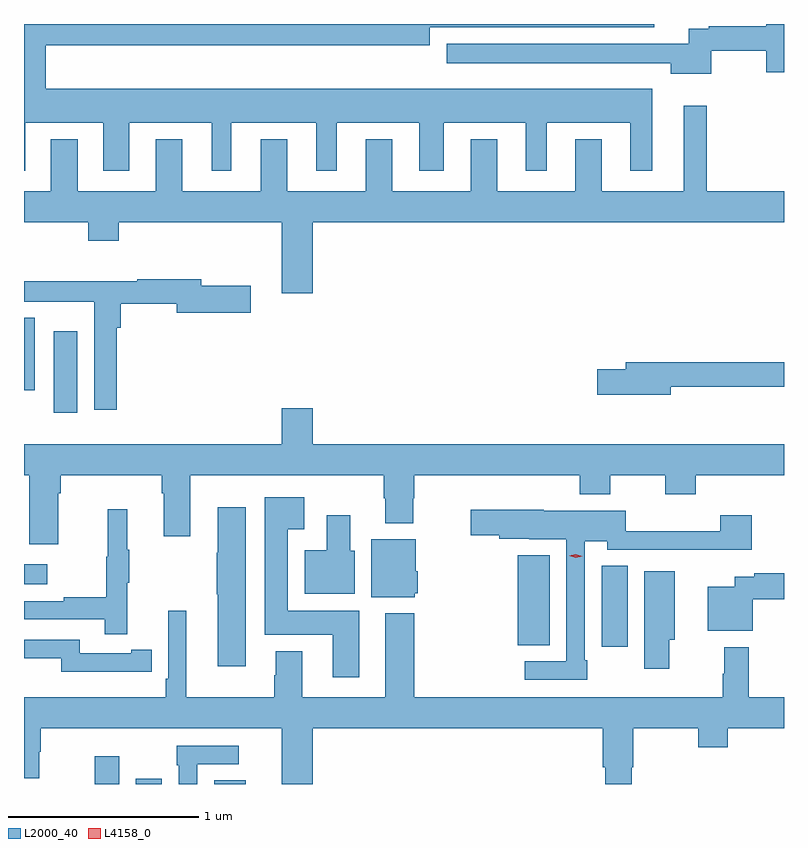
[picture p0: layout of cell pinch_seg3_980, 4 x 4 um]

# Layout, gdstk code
import gdstk
lib = gdstk.Library(unit=1e-6, precision=1e-09)
def R(c, l, rs):  # rectangles x0, y0, x1, y1
    for r in rs: c.add(gdstk.rectangle(r[:2], r[2:], *l))
def P(c, l, *ps):  # polygons
    for p in ps: c.add(gdstk.Polygon(p, *l))
L2000_40 = (2000, 40)
L4158_0 = (4158, 0)

pinch_seg3_980 = lib.new_cell('pinch_seg3_980')
R(pinch_seg3_980, L2000_40, [(415.771,713.943,415.9,714.088), (415.988,713.943,416.125,713.971), (416.399,713.943,416.566,713.963), (418.439,714.666,418.576,715.091), (417.998,714.673,418.165,715.147), (415.399,714.995,415.522,715.099), (415.556,715.896,415.678,716.326), (415.399,716.016,415.456,716.396)])
P(pinch_seg3_980, L2000_40, [(419.016,717.802),(419.305,717.802),(419.305,717.69),(419.399,717.69),(419.399,717.943),(419.305,717.943),(419.305,717.931),(419.002,717.931),(419.002,717.918),(418.898,717.918),(418.898,717.838),(417.624,717.838),(417.624,717.737),(418.802,717.737),(418.802,717.68),(419.016,717.68)],
  [(415.405,717.422),(415.817,717.422),(415.817,717.171),(415.954,717.171),(415.954,717.422),(416.387,717.422),(416.387,717.171),(416.491,717.171),(416.491,717.422),(416.936,717.422),(416.936,717.171),(417.046,717.171),(417.046,717.422),(417.479,717.422),(417.479,717.171),(417.607,717.171),(417.607,717.422),(418.04,717.422),(418.04,717.171),(418.15,717.171),(418.15,717.422),(418.589,717.422),(418.589,717.171),(418.705,717.171),(418.705,717.601),(415.513,717.601),(415.513,717.83),(417.535,717.83),(417.535,717.927),(418.717,717.927),(418.717,717.943),(415.399,717.943),(415.399,717.171),(415.405,717.171)],
  [(419.399,717.064),(418.993,717.064),(418.993,717.514),(418.871,717.514),(418.871,717.064),(418.441,717.064),(418.441,717.337),(418.301,717.337),(418.301,717.064),(417.889,717.064),(417.889,717.337),(417.749,717.337),(417.749,717.064),(417.337,717.064),(417.337,717.337),(417.197,717.337),(417.197,717.064),(416.785,717.064),(416.785,717.337),(416.645,717.337),(416.645,717.064),(416.233,717.064),(416.233,717.337),(416.093,717.337),(416.093,717.064),(415.681,717.064),(415.681,717.337),(415.541,717.337),(415.541,717.064),(415.399,717.064),(415.399,716.9),(415.738,716.9),(415.738,716.801),(415.898,716.801),(415.898,716.9),(416.756,716.9),(416.756,716.526),(416.92,716.526),(416.92,716.9),(419.399,716.9)],
  [(415.886,716.345),(415.908,716.345),(415.908,716.47),(416.204,716.47),(416.204,716.423),(416.593,716.423),(416.593,716.565),(416.332,716.565),(416.332,716.599),(415.996,716.599),(415.996,716.588),(415.794,716.588),(415.794,716.59),(415.399,716.59),(415.399,716.481),(415.56,716.481),(415.56,716.48),(415.77,716.48),(415.77,715.914),(415.886,715.914)],
  [(418.804,716.034),(419.399,716.034),(419.399,716.162),(418.565,716.162),(418.565,716.126),(418.416,716.126),(418.416,715.991),(418.804,715.991)],
  [(415.579,715.472),(415.592,715.472),(415.592,715.568),(416.123,715.568),(416.123,715.472),(416.135,715.472),(416.135,715.248),(416.275,715.248),(416.275,715.568),(417.292,715.568),(417.292,715.448),(417.299,715.448),(417.299,715.316),(417.447,715.316),(417.447,715.448),(417.452,715.448),(417.452,715.568),(418.325,715.568),(418.325,715.469),(418.485,715.469),(418.485,715.568),(418.774,715.568),(418.774,715.469),(418.934,715.469),(418.934,715.568),(419.399,715.568),(419.399,715.732),(416.92,715.732),(416.92,715.921),(416.756,715.921),(416.756,715.732),(415.399,715.732),(415.399,715.568),(415.427,715.568),(415.427,715.206),(415.579,715.206)],
  [(417.163,714.856),(416.788,714.856),(416.788,715.283),(416.875,715.283),(416.875,715.453),(416.666,715.453),(416.666,714.728),(417.023,714.728),(417.023,714.504),(417.163,714.504)],
  [(416.566,715.399),(416.42,715.399),(416.42,715.16),(416.413,715.16),(416.413,714.943),(416.42,714.943),(416.42,714.564),(416.566,714.564)],
  [(415.943,715.003),(415.954,715.003),(415.954,715.177),(415.943,715.177),(415.943,715.39),(415.84,715.39),(415.84,715.14),(415.833,715.14),(415.833,714.926),(415.609,714.926),(415.609,714.906),(415.399,714.906),(415.399,714.81),(415.825,714.81),(415.825,714.732),(415.943,714.732)],
  [(418.363,714.595),(418.35,714.595),(418.35,715.22),(418.47,715.22),(418.47,715.176),(418.979,715.176),(418.979,715.175),(419.228,715.175),(419.228,715.357),(419.063,715.357),(419.063,715.274),(418.566,715.274),(418.566,715.381),(418.134,715.381),(418.134,715.387),(417.75,715.387),(417.75,715.253),(417.899,715.253),(417.899,715.235),(418.059,715.235),(418.059,715.232),(418.254,715.232),(418.254,714.588),(418.035,714.588),(418.035,714.492),(418.363,714.492)],
  [(417.139,715.17),(417.115,715.17),(417.115,715.357),(416.993,715.357),(416.993,715.174),(416.876,715.174),(416.876,714.944),(417.139,714.944)],
  [(417.456,714.948),(417.472,714.948),(417.472,715.062),(417.46,715.062),(417.46,715.231),(417.227,715.231),(417.227,714.926),(417.456,714.926)],
  [(418.794,714.701),(418.825,714.701),(418.825,715.063),(418.664,715.063),(418.664,714.549),(418.794,714.549)],
  [(419.235,714.916),(419.399,714.916),(419.399,715.052),(419.242,715.052),(419.242,715.033),(419.139,715.033),(419.139,714.982),(418.997,714.982),(418.997,714.749),(419.235,714.749)],
  [(416.92,714.236),(418.445,714.236),(418.445,714.032),(418.457,714.032),(418.457,713.943),(418.597,713.943),(418.597,714.032),(418.605,714.032),(418.605,714.236),(418.948,714.236),(418.948,714.137),(419.103,714.137),(419.103,714.236),(419.399,714.236),(419.399,714.4),(419.213,714.4),(419.213,714.664),(419.085,714.664),(419.085,714.524),(419.077,714.524),(419.077,714.4),(417.452,714.4),(417.452,714.841),(417.299,714.841),(417.299,714.4),(416.863,714.4),(416.863,714.643),(416.723,714.643),(416.723,714.516),(416.716,714.516),(416.716,714.4),(416.254,714.4),(416.254,714.856),(416.157,714.856),(416.157,714.496),(416.144,714.496),(416.144,714.4),(415.399,714.4),(415.399,713.973),(415.48,713.973),(415.48,714.113),(415.487,714.113),(415.487,714.236),(416.756,714.236),(416.756,713.943),(416.92,713.943)],
  [(415.964,714.534),(416.072,714.534),(416.072,714.65),(415.964,714.65),(415.964,714.63),(415.692,714.63),(415.692,714.702),(415.399,714.702),(415.399,714.606),(415.596,714.606),(415.596,714.533),(415.964,714.533)],
  [(416.31,714.048),(416.53,714.048),(416.53,714.144),(416.202,714.144),(416.202,714.041),(416.214,714.041),(416.214,713.943),(416.31,713.943)])
P(pinch_seg3_980, L4158_0, [(418.302,715.133),(418.268,715.144),(418.267,715.144),(418.268,715.144),(418.303,715.153),(418.337,715.142),(418.337,715.142),(418.337,715.142)])

lib.write_gds('pinch_seg3_980.gds')
